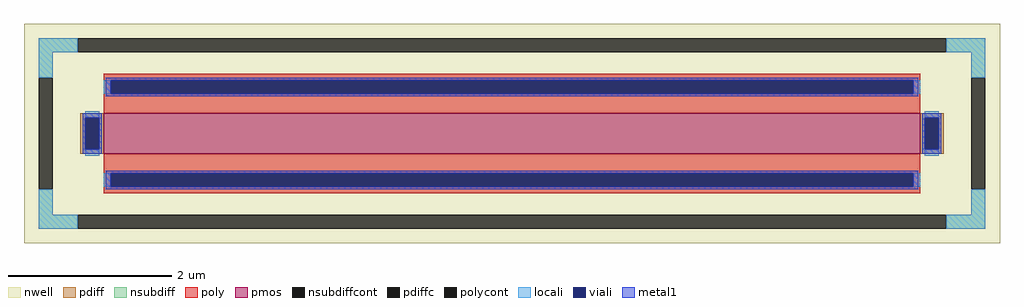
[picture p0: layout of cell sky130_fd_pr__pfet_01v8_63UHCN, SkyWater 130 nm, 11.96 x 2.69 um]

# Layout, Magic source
magic
tech sky130A
magscale 1 2
<< nwell >>
rect -1196 -269 1196 269
<< pmos >>
rect -1000 -50 1000 50
<< pdiff >>
rect -1058 38 -1000 50
rect -1058 -38 -1046 38
rect -1012 -38 -1000 38
rect -1058 -50 -1000 -38
rect 1000 38 1058 50
rect 1000 -38 1012 38
rect 1046 -38 1058 38
rect 1000 -50 1058 -38
<< pdiffc >>
rect -1046 -38 -1012 38
rect 1012 -38 1046 38
<< nsubdiff >>
rect -1160 199 -1064 233
rect 1064 199 1160 233
rect -1160 137 -1126 199
rect 1126 137 1160 199
rect -1160 -199 -1126 -137
rect 1126 -199 1160 -137
rect -1160 -233 -1064 -199
rect 1064 -233 1160 -199
<< nsubdiffcont >>
rect -1064 199 1064 233
rect -1160 -137 -1126 137
rect 1126 -137 1160 137
rect -1064 -233 1064 -199
<< poly >>
rect -1000 131 1000 147
rect -1000 97 -984 131
rect 984 97 1000 131
rect -1000 50 1000 97
rect -1000 -97 1000 -50
rect -1000 -131 -984 -97
rect 984 -131 1000 -97
rect -1000 -147 1000 -131
<< polycont >>
rect -984 97 984 131
rect -984 -131 984 -97
<< locali >>
rect -1160 199 -1064 233
rect 1064 199 1160 233
rect -1160 137 -1126 199
rect 1126 137 1160 199
rect -1000 97 -984 131
rect 984 97 1000 131
rect -1046 38 -1012 54
rect -1046 -54 -1012 -38
rect 1012 38 1046 54
rect 1012 -54 1046 -38
rect -1000 -131 -984 -97
rect 984 -131 1000 -97
rect -1160 -199 -1126 -137
rect 1126 -199 1160 -137
rect -1160 -233 -1064 -199
rect 1064 -233 1160 -199
<< viali >>
rect -984 97 984 131
rect -1046 -38 -1012 38
rect 1012 -38 1046 38
rect -984 -131 984 -97
<< metal1 >>
rect -996 131 996 137
rect -996 97 -984 131
rect 984 97 996 131
rect -996 91 996 97
rect -1052 38 -1006 50
rect -1052 -38 -1046 38
rect -1012 -38 -1006 38
rect -1052 -50 -1006 -38
rect 1006 38 1052 50
rect 1006 -38 1012 38
rect 1046 -38 1052 38
rect 1006 -50 1052 -38
rect -996 -97 996 -91
rect -996 -131 -984 -97
rect 984 -131 996 -97
rect -996 -137 996 -131
<< properties >>
string FIXED_BBOX -1143 -216 1143 216
string gencell sky130_fd_pr__pfet_01v8
string library sky130
string parameters w 0.5 l 10.0 m 1 nf 1 diffcov 100 polycov 100 guard 1 glc 1 grc 1 gtc 1 gbc 1 tbcov 100 rlcov 100 topc 1 botc 1 poverlap 0 doverlap 1 lmin 0.15 wmin 0.42 compatible {sky130_fd_pr__pfet_01v8  sky130_fd_pr__pfet_01v8_lvt sky130_fd_pr__pfet_01v8_hvt  sky130_fd_pr__pfet_g5v0d10v5} full_metal 1 viasrc 100 viadrn 100 viagate 100 viagb 0 viagr 0 viagl 0 viagt 0
<< end >>
